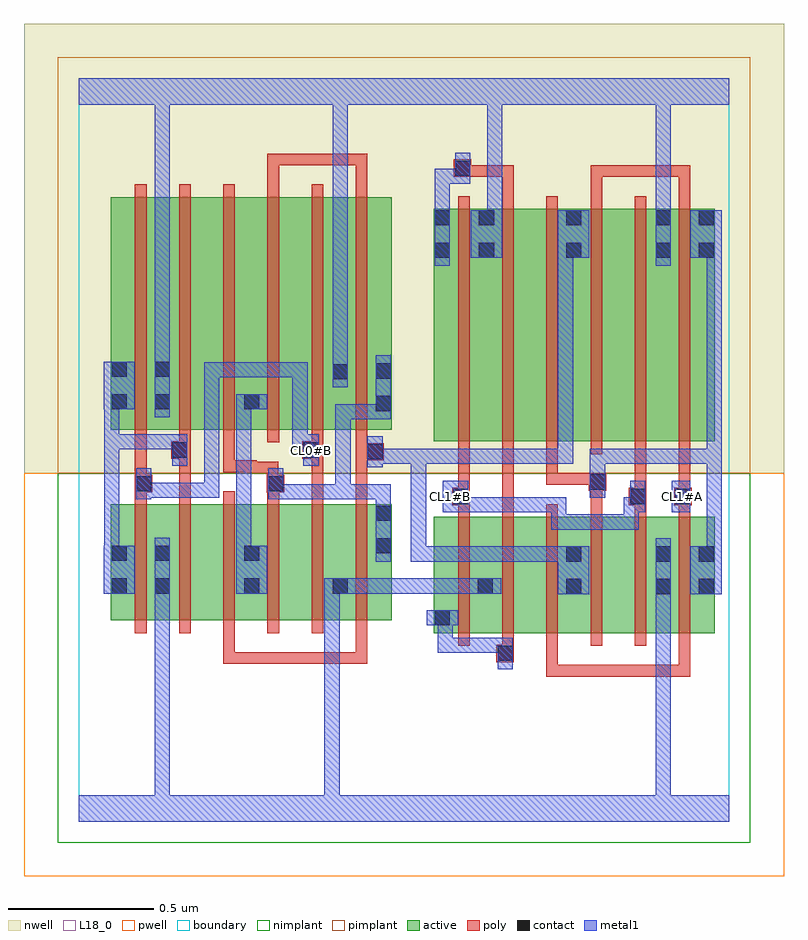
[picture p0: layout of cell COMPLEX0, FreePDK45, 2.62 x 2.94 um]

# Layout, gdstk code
import gdstk
lib = gdstk.Library(unit=1e-6, precision=1e-09)
def R(c, l, rs):  # rectangles x0, y0, x1, y1
    for r in rs: c.add(gdstk.rectangle(r[:2], r[2:], *l))
def A(c, l, x, y, w, h, nx, ny, dx, dy):  # array of equal rectangles
    R(c, l, [(x+i*dx, y+j*dy, x+i*dx+w, y+j*dy+h) for i in range(nx) for j in range(ny)])
active = (1, 0)
pwell = (2, 0)
nwell = (3, 0)
nimplant = (4, 0)
pimplant = (5, 0)
poly = (9, 0)
contact = (10, 0)
metal1 = (11, 0)
L18_0 = (18, 0)
boundary = (235, 0)

complex0 = lib.new_cell('COMPLEX0')
R(complex0, active, [(1.222,0.65,1.43,1.05), (1.222,0.65,1.282,0.948), (1.37,0.65,1.43,1.05), (1.37,0.65,1.554,1.05), (1.554,0.65,1.734,1.05), (1.674,0.65,1.734,1.05), (1.674,0.65,1.858,1.05), (1.858,0.65,2.042,1.05), (1.982,0.65,2.042,1.05), (1.982,0.65,2.19,1.05), (2.13,0.65,2.19,1.05), (0.11,0.694,0.17,1.094), (0.11,0.694,0.318,1.094), (0.258,0.694,0.442,1.094), (0.258,0.694,0.318,0.954), (0.442,0.694,0.626,1.094), (0.566,0.694,0.746,1.094), (0.566,0.694,0.626,1.062), (0.746,0.694,0.93,1.094), (0.87,0.694,1.078,1.094), (0.87,0.694,0.93,0.902), (1.018,0.756,1.078,1.094), (1.222,1.31,1.282,2.11), (1.222,1.31,1.434,2.11), (1.374,1.31,1.554,2.11), (1.554,1.31,1.734,2.11), (1.674,1.31,1.734,2.11), (1.674,1.31,1.858,2.11), (1.858,1.31,2.042,2.11), (1.982,1.31,2.19,2.11), (2.13,1.31,2.19,2.11), (1.374,1.338,1.434,2.11), (0.11,1.35,0.17,2.15), (0.11,1.35,0.318,2.15), (0.258,1.35,0.318,2.15), (0.258,1.35,0.442,2.15), (0.442,1.35,0.626,2.15), (0.566,1.35,0.626,2.15), (0.566,1.35,0.746,2.15), (0.746,1.35,0.93,2.15), (0.87,1.35,1.078,2.15), (0.87,1.35,0.93,2.044), (1.018,1.35,1.078,2.15), (1.982,1.65,2.042,2.11)])
R(complex0, pwell, [(-0.188,-0.188,2.428,1.2)])
R(complex0, nwell, [(-0.188,1.2,2.428,2.748)])
R(complex0, nimplant, [(-0.072,-0.072,2.312,1.2)])
R(complex0, pimplant, [(-0.072,1.2,2.312,2.632)])
A(complex0, poly, 1.306, 0.606, 0.04, 0.488, 6, 1, 0.152, 0)
A(complex0, poly, 0.194, 0.65, 0.04, 0.488, 6, 1, 0.152, 0)
A(complex0, poly, 1.306, 1.266, 0.04, 0.888, 6, 1, 0.152, 0)
A(complex0, poly, 0.194, 1.306, 0.04, 0.888, 6, 1, 0.152, 0)
A(complex0, poly, 1.458, 2.114, 0.04, 0.146, 3, 1, 0.304, 0)
R(complex0, poly, [(1.61,0.5,1.65,0.646), (1.61,0.5,1.65,0.54), (1.61,0.5,1.756,0.54), (1.716,0.5,1.756,0.54), (1.716,0.5,1.756,0.54), (1.716,0.5,1.756,0.54), (1.716,0.5,1.908,0.54), (1.868,0.5,1.908,0.54), (1.868,0.5,1.908,0.54), (1.868,0.5,1.908,0.54), (1.868,0.5,2.106,0.54), (2.066,0.5,2.106,0.646), (2.066,0.5,2.106,0.54), (2.066,0.5,2.106,0.54), (2.066,0.5,2.106,0.54), (0.498,0.544,0.538,0.69), (0.498,0.544,0.538,0.584), (0.498,0.544,0.538,0.584), (0.498,0.544,0.538,0.584), (0.498,0.544,0.704,0.584), (0.664,0.544,0.704,0.584), (0.664,0.544,0.888,0.584), (0.848,0.544,0.888,0.584), (0.848,0.544,0.888,0.584), (0.848,0.544,0.888,0.584), (0.848,0.544,0.994,0.584), (0.954,0.544,0.994,0.69), (0.954,0.544,0.994,0.584), (0.954,0.544,0.994,0.584), (0.954,0.544,0.994,0.584), (1.438,0.55,1.498,0.61), (1.458,0.57,1.498,0.646), (1.306,1.054,1.346,1.13), (1.458,1.054,1.498,1.13), (1.762,1.054,1.802,1.18), (1.914,1.054,1.954,1.13), (2.066,1.054,2.106,1.13), (1.286,1.09,1.346,1.15), (1.458,1.09,1.498,1.13), (1.458,1.09,1.498,1.13), (1.458,1.09,1.498,1.13), (1.458,1.09,1.498,1.306), (1.894,1.09,1.954,1.15), (2.05,1.09,2.11,1.15), (0.194,1.098,0.234,1.174), (0.346,1.098,0.386,1.29), (0.65,1.098,0.69,1.174), (0.802,1.098,0.842,1.29), (0.954,1.098,0.994,1.284), (1.306,1.11,1.346,1.15), (1.306,1.11,1.346,1.15), (1.306,1.11,1.346,1.306), (1.914,1.11,1.954,1.15), (1.914,1.11,1.954,1.15), (1.914,1.11,1.954,1.306), (2.066,1.11,2.106,1.15), (2.066,1.11,2.106,1.15), (2.066,1.11,2.106,1.306), (0.194,1.134,0.254,1.194), (0.648,1.134,0.708,1.194), (1.756,1.14,1.816,1.2), (1.762,1.14,1.802,1.18), (1.762,1.14,1.802,1.18), (0.194,1.154,0.234,1.194), (0.194,1.154,0.234,1.194), (0.194,1.154,0.234,1.346), (0.648,1.154,0.688,1.24), (1.61,1.16,1.65,1.306), (1.61,1.16,1.65,1.2), (1.61,1.16,1.65,1.2), (1.61,1.16,1.65,1.2), (1.61,1.16,1.796,1.2), (0.574,1.2,0.688,1.24), (0.574,1.2,0.614,1.244), (0.648,1.2,0.688,1.24), (0.498,1.204,0.538,1.244), (0.498,1.204,0.614,1.244), (0.498,1.204,0.538,1.346), (0.954,1.244,0.994,1.284), (0.954,1.244,0.994,1.284), (0.954,1.244,1.05,1.304), (0.318,1.25,0.386,1.31), (0.346,1.25,0.386,1.29), (0.346,1.25,0.386,1.29), (0.77,1.25,0.842,1.31), (0.802,1.25,0.842,1.29), (0.802,1.25,0.842,1.29), (0.954,1.264,0.994,1.346), (0.346,1.27,0.386,1.346), (0.802,1.27,0.842,1.346), (0.65,2.154,0.69,2.3), (0.954,2.154,0.994,2.3), (1.292,2.22,1.352,2.28), (1.312,2.22,1.498,2.26), (1.458,2.22,1.498,2.26), (1.458,2.22,1.498,2.26), (1.458,2.22,1.498,2.26), (1.762,2.22,1.802,2.26), (1.762,2.22,1.984,2.26), (1.944,2.22,1.984,2.26), (1.944,2.22,1.984,2.26), (1.944,2.22,1.984,2.26), (1.944,2.22,2.106,2.26), (2.066,2.22,2.106,2.26), (2.066,2.22,2.106,2.26), (2.066,2.22,2.106,2.26), (0.65,2.26,0.69,2.3), (0.65,2.26,0.888,2.3), (0.848,2.26,0.888,2.3), (0.848,2.26,0.888,2.3), (0.848,2.26,0.888,2.3), (0.848,2.26,0.994,2.3), (0.954,2.26,0.994,2.3), (0.954,2.26,0.994,2.3), (0.954,2.26,0.994,2.3)])
R(complex0, contact, [(1.442,0.554,1.494,0.606), (1.226,0.676,1.278,0.728), (1.678,0.784,1.73,0.836), (1.986,0.784,2.038,0.836), (2.134,0.784,2.186,0.836), (0.114,0.786,0.166,0.838), (0.262,0.786,0.314,0.838), (0.57,0.786,0.622,0.838), (0.874,0.786,0.926,0.838), (1.374,0.786,1.426,0.838), (1.678,0.896,1.73,0.948), (1.986,0.896,2.038,0.948), (2.134,0.896,2.186,0.948), (0.114,0.898,0.166,0.95), (0.262,0.898,0.314,0.95), (0.57,0.898,0.622,0.95), (1.022,0.924,1.074,0.976), (1.022,1.036,1.074,1.088), (1.29,1.094,1.342,1.146), (1.898,1.094,1.95,1.146), (2.054,1.094,2.106,1.146), (0.198,1.138,0.25,1.19), (0.652,1.138,0.704,1.19), (1.76,1.144,1.812,1.196), (0.994,1.248,1.046,1.3), (0.322,1.254,0.374,1.306), (0.774,1.254,0.826,1.306), (1.022,1.414,1.074,1.466), (0.114,1.42,0.166,1.472), (0.262,1.42,0.314,1.472), (0.57,1.42,0.622,1.472), (0.874,1.524,0.926,1.576), (1.022,1.526,1.074,1.578), (0.114,1.532,0.166,1.584), (0.262,1.532,0.314,1.584), (1.226,1.942,1.278,1.994), (1.378,1.942,1.43,1.994), (1.678,1.942,1.73,1.994), (1.986,1.942,2.038,1.994), (2.134,1.942,2.186,1.994), (1.226,2.054,1.278,2.106), (1.378,2.054,1.43,2.106), (1.678,2.054,1.73,2.106), (1.986,2.054,2.038,2.106), (2.134,2.054,2.186,2.106), (1.296,2.224,1.348,2.276)])
R(complex0, metal1, [(0,0,2.24,0.092), (0.262,0.04,0.314,0.092), (0.262,0.04,0.314,0.092), (0.262,0.04,0.314,0.092), (0.262,0.04,0.314,0.092), (0.262,0.04,0.314,0.092), (0.262,0.04,0.314,0.092), (0.262,0.04,0.314,0.092), (0.262,0.04,0.314,0.092), (0.262,0.04,0.314,0.092), (0.262,0.04,0.314,0.092), (0.262,0.04,0.314,0.092), (0.262,0.04,0.314,0.092), (0.262,0.04,0.314,0.81), (0.846,0.04,0.898,0.092), (0.846,0.04,0.898,0.092), (0.846,0.04,0.898,0.092), (0.846,0.04,0.898,0.092), (0.846,0.04,0.898,0.092), (0.846,0.04,0.898,0.092), (0.846,0.04,0.898,0.092), (0.846,0.04,0.898,0.092), (0.846,0.04,0.898,0.092), (0.846,0.04,0.898,0.092), (0.846,0.04,0.898,0.092), (0.846,0.04,0.898,0.092), (0.846,0.04,0.898,0.838), (1.986,0.04,2.038,0.092), (1.986,0.04,2.038,0.092), (1.986,0.04,2.038,0.092), (1.986,0.04,2.038,0.092), (1.986,0.04,2.038,0.092), (1.986,0.04,2.038,0.092), (1.986,0.04,2.038,0.092), (1.986,0.04,2.038,0.092), (1.986,0.04,2.038,0.726), (1.442,0.526,1.494,0.634), (1.236,0.582,1.288,0.634), (1.236,0.582,1.288,0.634), (1.236,0.582,1.288,0.634), (1.236,0.582,1.458,0.634), (1.236,0.582,1.288,0.728), (1.406,0.582,1.458,0.634), (1.406,0.582,1.494,0.634), (1.986,0.674,2.038,0.726), (1.986,0.674,2.038,0.726), (1.986,0.674,2.038,0.726), (1.986,0.674,2.038,0.808), (1.198,0.676,1.306,0.728), (1.986,0.756,2.038,0.976), (0.262,0.758,0.314,0.978), (1.65,0.784,1.758,0.948), (2.106,0.784,2.214,0.948), (0.086,0.786,0.194,0.95), (0.542,0.786,0.65,0.95), (0.846,0.786,0.954,0.838), (0.902,0.786,0.954,0.838), (0.902,0.786,0.954,0.838), (0.902,0.786,1.086,0.838), (1.034,0.786,1.086,0.838), (1.034,0.786,1.086,0.838), (1.034,0.786,1.086,0.838), (1.034,0.786,1.288,0.838), (1.236,0.786,1.288,0.838), (1.236,0.786,1.288,0.838), (1.236,0.786,1.288,0.838), (1.236,0.786,1.398,0.838), (1.346,0.786,1.454,0.838), (1.022,0.896,1.074,1.116), (1.144,0.896,1.196,0.948), (1.144,0.896,1.196,0.948), (1.144,0.896,1.196,0.948), (1.144,0.896,1.196,0.948), (1.144,0.896,1.196,0.948), (1.144,0.896,1.196,1.284), (1.144,0.896,1.458,0.948), (1.406,0.896,1.458,0.948), (1.406,0.896,1.458,0.948), (1.406,0.896,1.458,0.948), (1.406,0.896,1.568,0.948), (1.516,0.896,1.568,0.948), (1.516,0.896,1.702,0.948), (1.65,0.896,1.702,0.948), (1.65,0.896,1.702,0.948), (2.162,0.896,2.214,1.284), (0.088,0.898,0.14,0.95), (0.088,0.898,0.14,0.95), (0.088,0.898,0.14,1.334), (0.542,0.898,0.594,0.95), (0.542,0.898,0.594,0.95), (0.542,0.898,0.594,0.95), (0.542,0.898,0.594,0.95), (0.542,0.898,0.594,1.472), (1.626,1.006,1.678,1.058), (1.626,1.006,1.678,1.058), (1.626,1.006,1.678,1.118), (1.626,1.006,1.84,1.058), (1.788,1.006,1.84,1.058), (1.788,1.006,1.928,1.058), (1.876,1.006,1.928,1.118), (1.022,1.064,1.074,1.162), (1.254,1.066,1.342,1.174), (1.29,1.066,1.458,1.118), (1.406,1.066,1.458,1.118), (1.406,1.066,1.568,1.118), (1.516,1.066,1.568,1.118), (1.516,1.066,1.568,1.118), (1.516,1.066,1.568,1.118), (1.516,1.066,1.678,1.118), (1.876,1.066,1.95,1.118), (1.898,1.066,1.95,1.174), (2.042,1.066,2.106,1.174), (0.198,1.11,0.25,1.218), (0.652,1.11,0.704,1.162), (0.652,1.11,0.704,1.162), (0.652,1.11,0.704,1.218), (0.652,1.11,0.936,1.162), (0.884,1.11,0.936,1.162), (0.884,1.11,0.936,1.162), (0.884,1.11,0.936,1.162), (0.884,1.11,1.074,1.162), (0.884,1.11,0.936,1.438), (1.022,1.11,1.074,1.162), (1.022,1.11,1.074,1.162), (1.022,1.11,1.074,1.162), (0.198,1.116,0.25,1.168), (0.198,1.116,0.25,1.168), (0.198,1.116,0.484,1.168), (0.432,1.116,0.484,1.168), (0.432,1.116,0.484,1.168), (0.432,1.116,0.484,1.168), (0.432,1.116,0.484,1.168), (0.432,1.116,0.484,1.168), (0.432,1.116,0.484,1.582), (1.76,1.116,1.812,1.228), (1.76,1.176,1.812,1.228), (1.76,1.176,1.812,1.284), (0.994,1.22,1.046,1.328), (0.322,1.226,0.374,1.334), (0.774,1.226,0.826,1.334), (0.994,1.232,1.086,1.284), (1.034,1.232,1.086,1.284), (1.034,1.232,1.196,1.284), (1.144,1.232,1.196,1.284), (1.144,1.232,1.196,1.284), (1.144,1.232,1.196,1.284), (1.144,1.232,1.398,1.284), (1.346,1.232,1.398,1.284), (1.346,1.232,1.568,1.284), (1.516,1.232,1.568,1.284), (1.516,1.232,1.568,1.284), (1.516,1.232,1.568,1.284), (1.516,1.232,1.702,1.284), (1.65,1.232,1.702,1.994), (1.65,1.232,1.702,1.284), (1.65,1.232,1.702,1.284), (1.65,1.232,1.702,1.284), (1.76,1.232,1.984,1.284), (1.932,1.232,1.984,1.284), (1.932,1.232,2.048,1.284), (1.996,1.232,2.048,1.284), (1.996,1.232,2.214,1.284), (2.162,1.232,2.214,1.994), (2.162,1.232,2.214,1.284), (2.162,1.232,2.214,1.284), (2.162,1.232,2.214,1.284), (2.162,1.232,2.214,1.284), (2.162,1.232,2.214,1.284), (0.088,1.282,0.14,1.334), (0.088,1.282,0.14,1.334), (0.088,1.282,0.14,1.334), (0.088,1.282,0.374,1.334), (0.088,1.282,0.14,1.472), (0.322,1.282,0.374,1.334), (0.322,1.282,0.374,1.334), (0.736,1.282,0.788,1.334), (0.736,1.282,0.788,1.334), (0.736,1.282,0.788,1.334), (0.736,1.282,0.826,1.334), (0.736,1.282,0.788,1.582), (0.884,1.386,0.936,1.438), (0.884,1.386,0.936,1.438), (0.884,1.386,0.936,1.438), (0.884,1.386,1.074,1.438), (1.022,1.386,1.074,1.438), (1.022,1.386,1.074,1.438), (1.022,1.386,1.074,1.606), (0.262,1.392,0.314,1.612), (0.086,1.42,0.194,1.584), (0.542,1.42,0.65,1.472), (0.874,1.496,0.926,1.604), (0.432,1.53,0.484,1.582), (0.432,1.53,0.484,1.582), (0.432,1.53,0.484,1.582), (0.432,1.53,0.594,1.582), (0.542,1.53,0.594,1.582), (0.542,1.53,0.594,1.582), (0.542,1.53,0.594,1.582), (0.542,1.53,0.704,1.582), (0.652,1.53,0.704,1.582), (0.652,1.53,0.788,1.582), (0.736,1.53,0.788,1.582), (0.874,1.552,0.926,2.52), (0.262,1.56,0.314,1.612), (0.262,1.56,0.314,1.612), (0.262,1.56,0.314,1.612), (0.262,1.56,0.314,1.612), (0.262,1.56,0.314,2.52), (1.226,1.914,1.278,2.134), (1.986,1.914,2.038,2.134), (1.35,1.942,1.458,2.106), (1.65,1.942,1.758,2.106), (2.106,1.942,2.214,2.106), (1.406,2.054,1.458,2.52), (1.226,2.082,1.278,2.248), (1.986,2.082,2.038,2.52), (1.226,2.196,1.278,2.248), (1.226,2.196,1.348,2.248), (1.296,2.196,1.348,2.304), (0,2.468,2.24,2.56), (0.262,2.468,0.314,2.52), (0.262,2.468,0.314,2.52), (0.262,2.468,0.314,2.52), (0.262,2.468,0.314,2.52), (0.874,2.468,0.926,2.52), (0.874,2.468,0.926,2.52), (0.874,2.468,0.926,2.52), (0.874,2.468,0.926,2.52), (0.874,2.468,0.926,2.52), (0.874,2.468,0.926,2.52), (0.874,2.468,0.926,2.52), (0.874,2.468,0.926,2.52), (1.406,2.468,1.458,2.52), (1.406,2.468,1.458,2.52), (1.406,2.468,1.458,2.52), (1.406,2.468,1.458,2.52), (1.406,2.468,1.458,2.52), (1.406,2.468,1.458,2.52), (1.406,2.468,1.458,2.52), (1.406,2.468,1.458,2.52), (1.986,2.468,2.038,2.52), (1.986,2.468,2.038,2.52), (1.986,2.468,2.038,2.52), (1.986,2.468,2.038,2.52), (1.986,2.468,2.038,2.52), (1.986,2.468,2.038,2.52), (1.986,2.468,2.038,2.52), (1.986,2.468,2.038,2.52)])
R(complex0, L18_0, [(0,0,2.24,0.092), (0.262,0.04,0.314,0.092), (0.262,0.04,0.314,0.092), (0.262,0.04,0.314,0.092), (0.262,0.04,0.314,0.092), (0.262,0.04,0.314,0.092), (0.262,0.04,0.314,0.092), (0.262,0.04,0.314,0.092), (0.262,0.04,0.314,0.092), (0.262,0.04,0.314,0.092), (0.262,0.04,0.314,0.092), (0.262,0.04,0.314,0.092), (0.262,0.04,0.314,0.092), (0.262,0.04,0.314,0.81), (0.846,0.04,0.898,0.092), (0.846,0.04,0.898,0.092), (0.846,0.04,0.898,0.092), (0.846,0.04,0.898,0.092), (0.846,0.04,0.898,0.092), (0.846,0.04,0.898,0.092), (0.846,0.04,0.898,0.092), (0.846,0.04,0.898,0.092), (0.846,0.04,0.898,0.092), (0.846,0.04,0.898,0.092), (0.846,0.04,0.898,0.092), (0.846,0.04,0.898,0.092), (0.846,0.04,0.898,0.838), (1.986,0.04,2.038,0.092), (1.986,0.04,2.038,0.092), (1.986,0.04,2.038,0.092), (1.986,0.04,2.038,0.092), (1.986,0.04,2.038,0.092), (1.986,0.04,2.038,0.092), (1.986,0.04,2.038,0.092), (1.986,0.04,2.038,0.092), (1.986,0.04,2.038,0.726), (1.986,0.674,2.038,0.726), (1.986,0.674,2.038,0.726), (1.986,0.674,2.038,0.726), (1.986,0.674,2.038,0.808), (1.986,0.756,2.038,0.976), (0.262,0.758,0.314,0.978), (0.846,0.786,0.954,0.838), (0.902,0.786,0.954,0.838), (0.902,0.786,0.954,0.838), (0.902,0.786,1.086,0.838), (1.034,0.786,1.086,0.838), (1.034,0.786,1.086,0.838), (1.034,0.786,1.086,0.838), (1.034,0.786,1.288,0.838), (1.236,0.786,1.288,0.838), (1.236,0.786,1.288,0.838), (1.236,0.786,1.288,0.838), (1.236,0.786,1.398,0.838), (1.346,0.786,1.454,0.838), (1.626,1.006,1.678,1.058), (1.626,1.006,1.678,1.058), (1.626,1.006,1.678,1.118), (1.626,1.006,1.84,1.058), (1.788,1.006,1.84,1.058), (1.788,1.006,1.928,1.058), (1.876,1.006,1.928,1.118), (1.254,1.066,1.342,1.174), (1.29,1.066,1.458,1.118), (1.406,1.066,1.458,1.118), (1.406,1.066,1.568,1.118), (1.516,1.066,1.568,1.118), (1.516,1.066,1.568,1.118), (1.516,1.066,1.568,1.118), (1.516,1.066,1.678,1.118), (1.876,1.066,1.95,1.118), (1.898,1.066,1.95,1.174), (2.042,1.066,2.106,1.174), (1.254,1.094,1.306,1.146), (2.054,1.094,2.106,1.146), (0.198,1.11,0.25,1.218), (0.198,1.116,0.25,1.168), (0.198,1.116,0.25,1.168), (0.198,1.116,0.484,1.168), (0.432,1.116,0.484,1.168), (0.432,1.116,0.484,1.168), (0.432,1.116,0.484,1.168), (0.432,1.116,0.484,1.168), (0.432,1.116,0.484,1.168), (0.432,1.116,0.484,1.582), (0.774,1.226,0.826,1.334), (0.774,1.254,0.826,1.306), (0.736,1.282,0.788,1.334), (0.736,1.282,0.788,1.334), (0.736,1.282,0.788,1.334), (0.736,1.282,0.788,1.582), (0.736,1.282,0.826,1.334), (0.262,1.392,0.314,1.612), (0.874,1.496,0.926,1.604), (0.432,1.53,0.484,1.582), (0.432,1.53,0.484,1.582), (0.432,1.53,0.484,1.582), (0.432,1.53,0.594,1.582), (0.542,1.53,0.594,1.582), (0.542,1.53,0.594,1.582), (0.542,1.53,0.594,1.582), (0.542,1.53,0.704,1.582), (0.652,1.53,0.704,1.582), (0.652,1.53,0.788,1.582), (0.736,1.53,0.788,1.582), (0.874,1.552,0.926,2.52), (0.262,1.56,0.314,1.612), (0.262,1.56,0.314,1.612), (0.262,1.56,0.314,1.612), (0.262,1.56,0.314,1.612), (0.262,1.56,0.314,2.52), (1.986,1.914,2.038,2.134), (1.35,1.942,1.458,2.106), (1.406,2.054,1.458,2.52), (1.986,2.082,2.038,2.52), (0,2.468,2.24,2.56), (0.262,2.468,0.314,2.52), (0.262,2.468,0.314,2.52), (0.262,2.468,0.314,2.52), (0.262,2.468,0.314,2.52), (0.874,2.468,0.926,2.52), (0.874,2.468,0.926,2.52), (0.874,2.468,0.926,2.52), (0.874,2.468,0.926,2.52), (0.874,2.468,0.926,2.52), (0.874,2.468,0.926,2.52), (0.874,2.468,0.926,2.52), (0.874,2.468,0.926,2.52), (1.406,2.468,1.458,2.52), (1.406,2.468,1.458,2.52), (1.406,2.468,1.458,2.52), (1.406,2.468,1.458,2.52), (1.406,2.468,1.458,2.52), (1.406,2.468,1.458,2.52), (1.406,2.468,1.458,2.52), (1.406,2.468,1.458,2.52), (1.986,2.468,2.038,2.52), (1.986,2.468,2.038,2.52), (1.986,2.468,2.038,2.52), (1.986,2.468,2.038,2.52), (1.986,2.468,2.038,2.52), (1.986,2.468,2.038,2.52), (1.986,2.468,2.038,2.52), (1.986,2.468,2.038,2.52)])
R(complex0, boundary, [(0,0,2.24,2.56)])
complex0.add(gdstk.Label('CL0#B', (0.8,1.28), layer=11, texttype=0))
complex0.add(gdstk.Label('CL1#A', (2.08,1.12), layer=11, texttype=0))
complex0.add(gdstk.Label('CL1#B', (1.28,1.12), layer=11, texttype=0))

lib.write_gds('COMPLEX0.gds')
